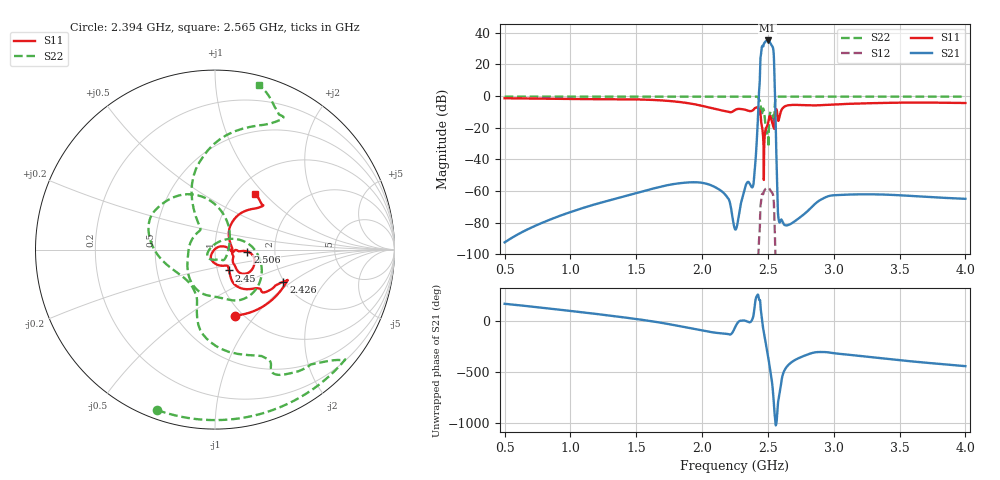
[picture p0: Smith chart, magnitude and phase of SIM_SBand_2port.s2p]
! Project 16: active antenna, S-band (NavIC) branch (RFMW-ANT)
! Generated by Scripts/sband.py from Scripts/ds_data.py; format GHz / RI, Z0 = 50 ohm
! SIMULATED S-band branch: port 1 = virtual RHCP input, port 2 = S-band RF out.
# GHz S RI R 50.0
! Port[1] = P1_S_RHCP
! Port[2] = P2_S_OUT
!freq ReS11 ImS11 ReS21 ImS21 ReS12 ImS12 ReS22 ImS22
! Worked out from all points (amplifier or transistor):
!   7001 points, 500 MHz to 4 GHz, reference 50 ohm
!   highest |S21| = 35.1 dB at 2.497 GHz (marker M1)
!   |S21| within 3 dB of that: 2.467 GHz to 2.528 GHz (61.34 MHz wide, 2.46 % of centre)
!   unconditionally stable (mu >= 1): start of sweep to end of sweep
!   at 1.083 GHz: K = 81341847226.35, MAG = -120.0 dB, |S12| = -182.0 dB
!   at 2.25 GHz: K = 678098144237.81, MAG = -120.0 dB, |S12| = -179.8 dB
!   at 4 GHz: K = 1054282043.74, MAG = -120.0 dB, |S12| = -145.5 dB
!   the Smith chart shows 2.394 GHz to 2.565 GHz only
!   S11 on the Smith chart (normalised r, x): 2.394 GHz: 0.92, -0.79; 2.426 GHz: 1.98, -0.86; 2.45 GHz: 1.14, -0.27; 2.506 GHz: 1.44, -0.03; 2.565 GHz: 1.22, +0.88
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0.5  -0.447 0.7157  -2.27e-05 6.6e-06  1.07e-12 -2.59e-11  -0.6374 0.7044
1.0835  0.4543 0.6512  3.92e-05 0.000275  2.81e-11 -8e-10  -0.2423 0.9186
1.667  0.6682 -0.2995  0.00124 -0.000375  -6.96e-09 -6.96e-09  0.1712 0.9344
2.25  -0.2236 -0.2791  2.29e-05 -5.7e-05  -8.76e-10 -5.25e-10  -0.6164 0.7229
2.3945  0.1095 -0.3676  0.000108 0.00248  4.79e-08 1.17e-08  -0.3221 -0.8937
2.4265  0.3814 -0.1784  -0.1456 -0.3584  -7.94e-06 6.16e-07  0.6631 -0.6163
2.4385  0.2529 -0.2195  -3.032 -1.127  -4.21e-05 5.27e-05  0.3091 -0.6252
2.4495  0.0788 -0.1162  8.427 23.55  0.000528 -8.84e-06  -0.107 -0.2492
2.4645  -0.0228 -0.0365  6.842 -36.19  -0.000683 -0.000396  -0.331 0.2212
2.4775  0.0628 0.014  -49.69 -2.61  -0.000423 0.000994  0.0615 0.1702
2.488  0.0979 -0.0132  -15.01 52.61  0.000966 0.000713  0.061 -0.0417
2.497  0.1221 -0.00382  42.7 37.13  0.00111 -0.000589  -0.00467 -0.0569
2.5065  0.1808 -0.0107  48.07 -29.14  -0.000215 -0.00124  0.0503 0.0542
2.5155  0.2151 -0.0946  -10.86 -47.34  -0.00108 -0.000169  0.2585 -0.0892
2.531  0.1156 -0.1002  -18.67 33.33  0.000542 0.000688  0.0372 -0.2694
2.541  0.1023 -0.0405  27.45 -8.405  6.92e-05 -0.000661  -0.1523 -0.052
2.55  0.0768 0.0813  -4.218 0.1356  -3.63e-05 9.17e-05  -0.1306 0.3198
2.557  0.226 0.2296  0.1123 0.3637  8.9e-06 1.03e-06  0.2759 0.6959
2.565  0.222 0.3097  0.00153 0.0102  2.36e-07 6.6e-08  0.2466 0.9173
2.8335  0.4931 0.0962  0.000229 0.00021  9.9e-09 -1.78e-09  0.0144 0.9499
3.417  0.3269 -0.5095  0.000728 -0.0002  3.03e-08 -3.1e-08  -0.4027 0.8604
4  -0.2366 -0.5483  4.74e-05 -0.000559  -3.82e-09 -5.29e-08  -0.4832 0.8179
